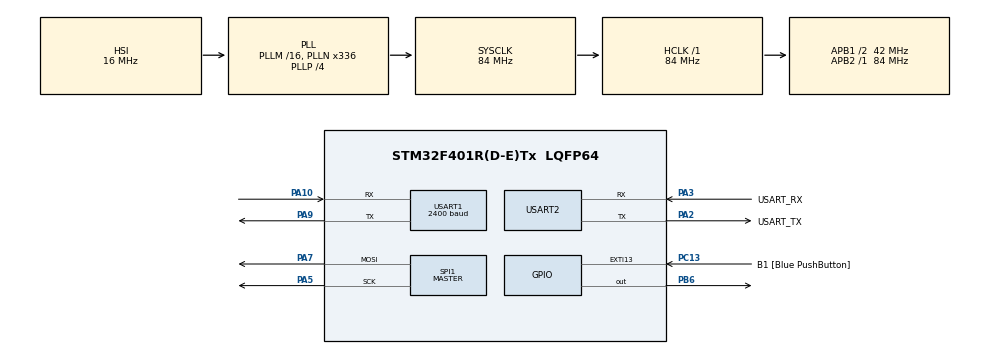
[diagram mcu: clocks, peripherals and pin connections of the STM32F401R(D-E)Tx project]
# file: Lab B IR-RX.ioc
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Dma.Request0=SPI1_TX
Dma.SPI1_TX.0.Direction=DMA_MEMORY_TO_PERIPH
Dma.SPI1_TX.0.FIFOMode=DMA_FIFOMODE_DISABLE
Dma.SPI1_TX.0.Instance=DMA2_Stream3
Dma.SPI1_TX.0.MemDataAlignment=DMA_MDATAALIGN_BYTE
Dma.SPI1_TX.0.MemInc=DMA_MINC_ENABLE
Dma.SPI1_TX.0.Mode=DMA_NORMAL
Dma.SPI1_TX.0.PeriphDataAlignment=DMA_PDATAALIGN_BYTE
Dma.SPI1_TX.0.PeriphInc=DMA_PINC_DISABLE
Dma.SPI1_TX.0.Priority=DMA_PRIORITY_LOW
Mcu.Family=STM32F4
Mcu.Name=STM32F401R(D-E)Tx
Mcu.Package=LQFP64
NVIC.DMA2_Stream3_IRQn=true\:0\:0\:false\:false\:true\:false\:true\:true
NVIC.PriorityGroup=NVIC_PRIORITYGROUP_0
NVIC.SPI1_IRQn=true\:0\:0\:false\:false\:true\:true\:true\:true
NVIC.TIM1_TRG_COM_TIM11_IRQn=true\:0\:0\:false\:false\:true\:true\:true\:true
NVIC.TIM1_UP_TIM10_IRQn=true\:0\:0\:false\:false\:true\:true\:true\:true
NVIC.USART1_IRQn=true\:0\:0\:false\:false\:true\:true\:true\:true
NVIC.USART2_IRQn=true\:0\:0\:false\:false\:true\:true\:true\:true
PA10.Mode=Asynchronous
PA10.Signal=USART1_RX
PA13.GPIO_Label=TMS
PA13.Mode=Serial_Wire
PA13.Signal=SYS_JTMS-SWDIO
PA14.GPIO_Label=TCK
PA14.Mode=Serial_Wire
PA14.Signal=SYS_JTCK-SWCLK
PA2.GPIO_Label=USART_TX
PA2.GPIO_Mode=GPIO_MODE_AF_PP
PA2.GPIO_PuPd=GPIO_NOPULL
PA2.GPIO_Speed=GPIO_SPEED_FREQ_LOW
PA2.Mode=Asynchronous
PA2.Signal=USART2_TX
PA3.GPIO_Label=USART_RX
PA3.GPIO_Mode=GPIO_MODE_AF_PP
PA3.GPIO_PuPd=GPIO_NOPULL
PA3.GPIO_Speed=GPIO_SPEED_FREQ_LOW
PA3.Mode=Asynchronous
PA3.Signal=USART2_RX
PA5.Mode=TX_Only_Simplex_Unidirect_Master
PA5.Signal=SPI1_SCK
PA7.Mode=TX_Only_Simplex_Unidirect_Master
PA7.Signal=SPI1_MOSI
PA9.Mode=Asynchronous
PA9.Signal=USART1_TX
PB3.GPIO_Label=SWO
PB3.Signal=SYS_JTDO-SWO
PB6.Signal=GPIO_Output
PC13-ANTI_TAMP.GPIO_Label=B1 [Blue PushButton]
PC13-ANTI_TAMP.GPIO_ModeDefaultEXTI=GPIO_MODE_IT_FALLING
PC13-ANTI_TAMP.GPIO_PuPd=GPIO_NOPULL
PC13-ANTI_TAMP.Signal=GPXTI13
PC14-OSC32_IN.Mode=LSE-External-Oscillator
PC14-OSC32_IN.Signal=RCC_OSC32_IN
PC15-OSC32_OUT.Mode=LSE-External-Oscillator
PC15-OSC32_OUT.Signal=RCC_OSC32_OUT
PH0\ -\ OSC_IN.Mode=HSE-External-Clock-Source
PH0\ -\ OSC_IN.Signal=RCC_OSC_IN
PH1\ -\ OSC_OUT.Mode=HSE-External-Clock-Source
PH1\ -\ OSC_OUT.Signal=RCC_OSC_OUT
ProjectManager.HeapSize=0x200
ProjectManager.StackSize=0x400
ProjectManager.TargetToolchain=STM32CubeIDE
RCC.48MHZClocksFreq_Value=48000000
RCC.AHBFreq_Value=84000000
RCC.APB1CLKDivider=RCC_HCLK_DIV2
RCC.APB1Freq_Value=42000000
RCC.APB1TimFreq_Value=84000000
RCC.APB2Freq_Value=84000000
RCC.APB2TimFreq_Value=84000000
RCC.CortexFreq_Value=84000000
RCC.HCLKFreq_Value=84000000
RCC.HSE_VALUE=8000000
RCC.HSI_VALUE=16000000
RCC.PLLN=336
RCC.PLLP=RCC_PLLP_DIV4
RCC.PLLQ=7
RCC.SYSCLKFreq_VALUE=84000000
RCC.SYSCLKSource=RCC_SYSCLKSOURCE_PLLCLK
RCC.VCOOutputFreq_Value=336000000
SPI1.BaudRatePrescaler=SPI_BAUDRATEPRESCALER_4
SPI1.Direction=SPI_DIRECTION_2LINES
SPI1.Mode=SPI_MODE_MASTER
SPI1.VirtualType=VM_MASTER
TIM10.Period=39
TIM10.Prescaler=8400-1
TIM11.Period=5000-1
TIM11.Prescaler=8400-1
USART1.BaudRate=2400
USART1.Mode=MODE_RX
USART1.Parity=PARITY_EVEN
USART1.VirtualMode=VM_ASYNC
USART2.VirtualMode=VM_ASYNC
VP_TIM10_VS_ClockSourceINT.Mode=Enable_Timer
VP_TIM11_VS_ClockSourceINT.Mode=Enable_Timer
board=NUCLEO-F401RE

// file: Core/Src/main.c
/* USER CODE BEGIN Header */
/**
  ******************************************************************************
  * @file           : main.c
  * @brief          : Main program body
  ******************************************************************************
  * @attention
  *
  * Copyright (c) 2023 STMicroelectronics.
  * All rights reserved.
  *
  * This software is licensed under terms that can be found in the LICENSE file
  * in the root directory of this software component.
  * If no LICENSE file comes with this software, it is provided AS-IS.
  *
  ******************************************************************************
  */
/* USER CODE END Header */
#include "main.h"

/* USER CODE BEGIN Includes */
#include <stdio.h>
/* USER CODE END Includes */

/* USER CODE BEGIN PD */
#define QUEUE_SIZE 100
#define N_CHARS 38 //17 because we added X to the end when we receive something else than the expected chars
const uint8_t led_mat[N_CHARS][5][2] = {
		//A
		{{31, 16},
		{36, 8},
		{68, 4},
		{36, 2},
		{31, 1}},
		//B
		{{127, 16},
		{73, 8},
		{73, 4},
		{73, 2},
		{54, 1}},
		//C
		{{62, 16},
		{65, 8},
		{65, 4},
		{65, 2},
		{34, 1}},
		//D
		{{127, 16},
		{65, 8},
		{65, 4},
		{65, 2},
		{62, 1}},
		//E
		{{127, 16},
		{73, 8},
		{73, 4},
		{73, 2},
		{73, 1}},
		//F
		{{127, 16},
		{72, 8},
		{72, 4},
		{72, 2},
		{72, 1}},
		//G
		{{127, 16},
		{65, 8},
		{73, 4},
		{73, 2},
		{39, 1}},
		//H
		{{127, 16},
		{8, 8},
		{8, 4},
		{8, 2},
		{127, 1}},
		//I
		{{0, 16},
		{65, 8},
		{127, 4},
		{65, 2},
		{0, 1}},
		//J
		{{0, 16},
		{6, 8},
		{65, 4},
		{126, 2},
		{64, 1}},
		//K
		{{127, 16},
		{8, 8},
		{20, 4},
		{34, 2},
		{65, 1}},
		//L
		{{0, 16},
		{127, 8},
		{1, 4},
		{1, 2},
		{0, 1}},
		//M
		{{127, 16},
		{64, 8},
		{48, 4},
		{64, 2},
		{127, 1}},
		//N
		{{127, 16},
		{48, 8},
		{8, 4},
		{6, 2},
		{127, 1}},
		//O
		{{62, 16},
		{65, 8},
		{65, 4},
		{65, 2},
		{62, 1}},
		//P
		{{127, 16},
		{72, 8},
		{72, 4},
		{72, 2},
		{48, 1}},
		//Q
		{{62, 16},
		{65, 8},
		{69, 4},
		{62, 2},
		{1, 1}},
		//R
		{{127, 16},
		{72, 8},
		{76, 4},
		{74, 2},
		{49, 1}},
		//S
		{{49, 16},
		{73, 8},
		{73, 4},
		{73, 2},
		{70, 1}},
		//T
		{{64, 16},
		{64, 8},
		{127, 4},
		{64, 2},
		{64, 1}},
		//U
		{{126, 16},
		{1, 8},
		{1, 4},
		{1, 2},
		{126, 1}},
		//V
		{{124, 16},
		{2, 8},
		{1, 4},
		{2, 2},
		{124, 1}},
		//W
		{{126, 16},
		{1, 8},
		{6, 4},
		{1, 2},
		{126, 1}},
		//X
		{{99, 16},
		{20, 8},
		{8, 4},
		{20, 2},
		{99, 1}},
		//Y
		{{64, 16},
		{32, 8},
		{31, 4},
		{32, 2},
		{64, 1}},
		//Z
		{{67, 16},
		{69, 8},
		{73, 4},
		{81, 2},
		{97, 1}},
		//0
		{{62, 16},
		{113, 8},
		{73, 4},
		{71, 2},
		{62, 1}},
		//1
		{{16, 16},
		{33, 8},
		{127, 4},
		{1, 2},
		{0, 1}},
		//2
		{{33, 16},
		{67, 8},
		{69, 4},
		{73, 2},
		{49, 1}},
		//3
		{{34, 16},
		{65, 8},
		{73, 4},
		{73, 2},
		{54, 1}},
		//4
		{{120, 16},
		{8, 8},
		{8, 4},
		{8, 2},
		{127, 1}},
		//5
		{{114, 16},
		{81, 8},
		{81, 4},
		{81, 2},
		{78, 1}},
		//6
		{{62, 16},
		{73, 8},
		{73, 4},
		{73, 2},
		{38, 1}},
		//7
		{{64, 16},
		{64, 8},
		{79, 4},
		{80, 2},
		{96, 1}},
		//8
		{{54, 16},
		{73, 8},
		{73, 4},
		{73, 2},
		{54, 1}},
		//9
		{{50, 16},
		{73, 8},
		{73, 4},
		{73, 2},
		{62, 1}},
		//dot
		{{0, 16},
		{0, 8},
		{1, 4},
		{0, 2},
		{0, 1}},
		//space
		{{0, 16},
		{0, 8},
		{0, 4},
		{0, 2},
		{0, 1}}
};

/* USER CODE END PD */

SPI_HandleTypeDef hspi1;
DMA_HandleTypeDef hdma_spi1_tx;

TIM_HandleTypeDef htim10;
TIM_HandleTypeDef htim11;

UART_HandleTypeDef huart1;
UART_HandleTypeDef huart2;

/* USER CODE BEGIN PV */
struct Queue {
	uint8_t items[QUEUE_SIZE];
	int front;
	int rear;
	int size;
} rx_queue;

uint8_t rx_data = 0;
int rx_letter_idx = 16;
/* USER CODE END PV */

void SystemClock_Config(void);
static void MX_GPIO_Init(void);
static void MX_DMA_Init(void);
static void MX_USART2_UART_Init(void);
static void MX_USART1_UART_Init(void);
static void MX_TIM10_Init(void);
static void MX_SPI1_Init(void);
static void MX_TIM11_Init(void);
/* USER CODE BEGIN PFP */
void init_queue(struct Queue* q);
int isFull(struct Queue *queue);
int isEmpty(struct Queue *queue);
int enqueue(struct Queue *queue, uint8_t item);
uint8_t dequeue(struct Queue *queue);
uint8_t* front(struct Queue *queue);
uint8_t char_to_ind(uint8_t c);

/* USER CODE END PFP */

/* USER CODE BEGIN 0 */

//management of IR reception
void HAL_UART_RxCpltCallback(UART_HandleTypeDef *huart){
	if(isEmpty(&rx_queue)) HAL_TIM_Base_Start_IT(&htim11); //start the timer to dequeue received letters

	enqueue(&rx_queue, rx_data); //add to queue received data

	HAL_UART_Receive_IT(&huart1, &rx_data, 1); //start new reception
}

//management of led matrix
void HAL_TIM_PeriodElapsedCallback(TIM_HandleTypeDef *htim) {
	if(htim == &htim10){
		static int idx = 0;
		HAL_SPI_Transmit_DMA(&hspi1, led_mat[rx_letter_idx][idx], 2);
		idx = (idx + 1) % 5;
	}else if(htim == &htim11){//change letters each half second
		uint8_t to_display = dequeue(&rx_queue);
		rx_letter_idx = char_to_ind(to_display);

		if(isEmpty(&rx_queue)) //if the queue is empty we do not have to do this nomore
			HAL_TIM_Base_Stop_IT(&htim11);
	}
}
void HAL_SPI_TxCpltCallback (SPI_HandleTypeDef * hspi){
	HAL_GPIO_TogglePin(GPIOB, GPIO_PIN_6);
	HAL_GPIO_TogglePin(GPIOB, GPIO_PIN_6);
}
/* USER CODE END 0 */

int main(void)
{
  /* USER CODE BEGIN 1 */
  init_queue(&rx_queue);
  /* USER CODE END 1 */

  /* MCU Configuration--------------------------------------------------------*/

  /* Reset of all peripherals, Initializes the Flash interface and the Systick. */
  HAL_Init();

  /* Configure the system clock */
  SystemClock_Config();

  /* Initialize all configured peripherals */
  MX_GPIO_Init();
  MX_DMA_Init();
  MX_USART2_UART_Init();
  MX_USART1_UART_Init();
  MX_TIM10_Init();
  MX_SPI1_Init();
  MX_TIM11_Init();
  /* USER CODE BEGIN 2 */
  HAL_UART_Receive_IT(&huart1, &rx_data, 1);
  HAL_TIM_Base_Start_IT(&htim10);

  /* USER CODE END 2 */

  /* Infinite loop */
  while (1)
  {

  }
}

void SystemClock_Config(void)
{
  RCC_OscInitTypeDef RCC_OscInitStruct = {0};
  RCC_ClkInitTypeDef RCC_ClkInitStruct = {0};

  /** Configure the main internal regulator output voltage
  */
  __HAL_RCC_PWR_CLK_ENABLE();
  __HAL_PWR_VOLTAGESCALING_CONFIG(PWR_REGULATOR_VOLTAGE_SCALE2);

  /** Initializes the RCC Oscillators according to the specified parameters
  * in the RCC_OscInitTypeDef structure.
  */
  RCC_OscInitStruct.OscillatorType = RCC_OSCILLATORTYPE_HSI;
  RCC_OscInitStruct.HSIState = RCC_HSI_ON;
  RCC_OscInitStruct.HSICalibrationValue = RCC_HSICALIBRATION_DEFAULT;
  RCC_OscInitStruct.PLL.PLLState = RCC_PLL_ON;
  RCC_OscInitStruct.PLL.PLLSource = RCC_PLLSOURCE_HSI;
  RCC_OscInitStruct.PLL.PLLM = 16;
  RCC_OscInitStruct.PLL.PLLN = 336;
  RCC_OscInitStruct.PLL.PLLP = RCC_PLLP_DIV4;
  RCC_OscInitStruct.PLL.PLLQ = 7;
  if (HAL_RCC_OscConfig(&RCC_OscInitStruct) != HAL_OK)
  {
    Error_Handler();
  }

  /** Initializes the CPU, AHB and APB buses clocks
  */
  RCC_ClkInitStruct.ClockType = RCC_CLOCKTYPE_HCLK|RCC_CLOCKTYPE_SYSCLK
                              |RCC_CLOCKTYPE_PCLK1|RCC_CLOCKTYPE_PCLK2;
  RCC_ClkInitStruct.SYSCLKSource = RCC_SYSCLKSOURCE_PLLCLK;
  RCC_ClkInitStruct.AHBCLKDivider = RCC_SYSCLK_DIV1;
  RCC_ClkInitStruct.APB1CLKDivider = RCC_HCLK_DIV2;
  RCC_ClkInitStruct.APB2CLKDivider = RCC_HCLK_DIV1;

  if (HAL_RCC_ClockConfig(&RCC_ClkInitStruct, FLASH_LATENCY_2) != HAL_OK)
  {
    Error_Handler();
  }
}

static void MX_SPI1_Init(void)
{

  /* SPI1 parameter configuration*/
  hspi1.Instance = SPI1;
  hspi1.Init.Mode = SPI_MODE_MASTER;
  hspi1.Init.Direction = SPI_DIRECTION_2LINES;
  hspi1.Init.DataSize = SPI_DATASIZE_8BIT;
  hspi1.Init.CLKPolarity = SPI_POLARITY_LOW;
  hspi1.Init.CLKPhase = SPI_PHASE_1EDGE;
  hspi1.Init.NSS = SPI_NSS_SOFT;
  hspi1.Init.BaudRatePrescaler = SPI_BAUDRATEPRESCALER_4;
  hspi1.Init.FirstBit = SPI_FIRSTBIT_MSB;
  hspi1.Init.TIMode = SPI_TIMODE_DISABLE;
  hspi1.Init.CRCCalculation = SPI_CRCCALCULATION_DISABLE;
  hspi1.Init.CRCPolynomial = 10;
  if (HAL_SPI_Init(&hspi1) != HAL_OK)
  {
    Error_Handler();
  }

}

static void MX_TIM10_Init(void)
{

  htim10.Instance = TIM10;
  htim10.Init.Prescaler = 8400-1;
  htim10.Init.CounterMode = TIM_COUNTERMODE_UP;
  htim10.Init.Period = 39;
  htim10.Init.ClockDivision = TIM_CLOCKDIVISION_DIV1;
  htim10.Init.AutoReloadPreload = TIM_AUTORELOAD_PRELOAD_DISABLE;
  if (HAL_TIM_Base_Init(&htim10) != HAL_OK)
  {
    Error_Handler();
  }

}

static void MX_TIM11_Init(void)
{

  htim11.Instance = TIM11;
  htim11.Init.Prescaler = 8400-1;
  htim11.Init.CounterMode = TIM_COUNTERMODE_UP;
  htim11.Init.Period = 5000-1;
  htim11.Init.ClockDivision = TIM_CLOCKDIVISION_DIV1;
  htim11.Init.AutoReloadPreload = TIM_AUTORELOAD_PRELOAD_DISABLE;
  if (HAL_TIM_Base_Init(&htim11) != HAL_OK)
  {
    Error_Handler();
  }

}

static void MX_USART1_UART_Init(void)
{

  huart1.Instance = USART1;
  huart1.Init.BaudRate = 2400;
  huart1.Init.WordLength = UART_WORDLENGTH_8B;
  huart1.Init.StopBits = UART_STOPBITS_1;
  huart1.Init.Parity = UART_PARITY_EVEN;
  huart1.Init.Mode = UART_MODE_RX;
  huart1.Init.HwFlowCtl = UART_HWCONTROL_NONE;
  huart1.Init.OverSampling = UART_OVERSAMPLING_16;
  if (HAL_UART_Init(&huart1) != HAL_OK)
  {
    Error_Handler();
  }

}

static void MX_USART2_UART_Init(void)
{

  huart2.Instance = USART2;
  huart2.Init.BaudRate = 115200;
  huart2.Init.WordLength = UART_WORDLENGTH_8B;
  huart2.Init.StopBits = UART_STOPBITS_1;
  huart2.Init.Parity = UART_PARITY_NONE;
  huart2.Init.Mode = UART_MODE_TX_RX;
  huart2.Init.HwFlowCtl = UART_HWCONTROL_NONE;
  huart2.Init.OverSampling = UART_OVERSAMPLING_16;
  if (HAL_UART_Init(&huart2) != HAL_OK)
  {
    Error_Handler();
  }

}

static void MX_DMA_Init(void)
{

  /* DMA controller clock enable */
  __HAL_RCC_DMA2_CLK_ENABLE();

  /* DMA interrupt init */
  /* DMA2_Stream3_IRQn interrupt configuration */
  HAL_NVIC_SetPriority(DMA2_Stream3_IRQn, 0, 0);
  HAL_NVIC_EnableIRQ(DMA2_Stream3_IRQn);

}

static void MX_GPIO_Init(void)
{
  GPIO_InitTypeDef GPIO_InitStruct = {0};

  /* GPIO Ports Clock Enable */
  __HAL_RCC_GPIOC_CLK_ENABLE();
  __HAL_RCC_GPIOH_CLK_ENABLE();
  __HAL_RCC_GPIOA_CLK_ENABLE();
  __HAL_RCC_GPIOB_CLK_ENABLE();

  /*Configure GPIO pin Output Level */
  HAL_GPIO_WritePin(GPIOB, GPIO_PIN_6, GPIO_PIN_RESET);

  /*Configure GPIO pin : B1_Pin */
  GPIO_InitStruct.Pin = B1_Pin;
  GPIO_InitStruct.Mode = GPIO_MODE_IT_FALLING;
  GPIO_InitStruct.Pull = GPIO_NOPULL;
  HAL_GPIO_Init(B1_GPIO_Port, &GPIO_InitStruct);

  /*Configure GPIO pin : PB6 */
  GPIO_InitStruct.Pin = GPIO_PIN_6;
  GPIO_InitStruct.Mode = GPIO_MODE_OUTPUT_PP;
  GPIO_InitStruct.Pull = GPIO_NOPULL;
  GPIO_InitStruct.Speed = GPIO_SPEED_FREQ_LOW;
  HAL_GPIO_Init(GPIOB, &GPIO_InitStruct);

}

/* USER CODE BEGIN 4 */
void init_queue(struct Queue* q){
	q->front = 0;
	q->rear = QUEUE_SIZE - 1;
	q->size = 0;
}
int isFull(struct Queue *queue) {
	return queue->size == QUEUE_SIZE;
}

int isEmpty(struct Queue *queue) {
	return (queue->size == 0);
}

int enqueue(struct Queue *queue, uint8_t item) {
	if (isFull(queue))
		return 0;
	queue->rear = (queue->rear + 1) % QUEUE_SIZE;
	queue->items[queue->rear] = item;
	queue->size = queue->size + 1;
	return 1;
}

uint8_t dequeue(struct Queue *queue) {
	if (isEmpty(queue))
		Error_Handler(); //if dequeue with empty queue return error!

	uint8_t item = queue->items[queue->front];
	queue->front = (queue->front + 1) % QUEUE_SIZE;
	queue->size = queue->size - 1;
	return item;
}

uint8_t* front(struct Queue* queue){
    if (isEmpty(queue)) Error_Handler();
    return &(queue->items[queue->front]);
}

uint8_t char_to_ind(uint8_t c){
	if(c >= 'A' && c <='Z'){
		return c - 'A';
	}else if(c >= 'a' && c <='z'){
		return c - 'a';
	}else if(c >= '0' && c <= '9'){
		return c - '0' + 26; //6 because the first 26 mat are letters
	}else{
		return N_CHARS - 1;
	}

}
/* USER CODE END 4 */

void Error_Handler(void)
{
  __disable_irq();
  while (1)
  {
  }
}
